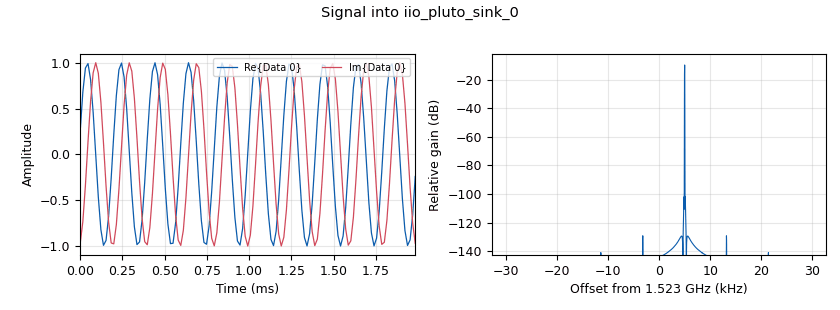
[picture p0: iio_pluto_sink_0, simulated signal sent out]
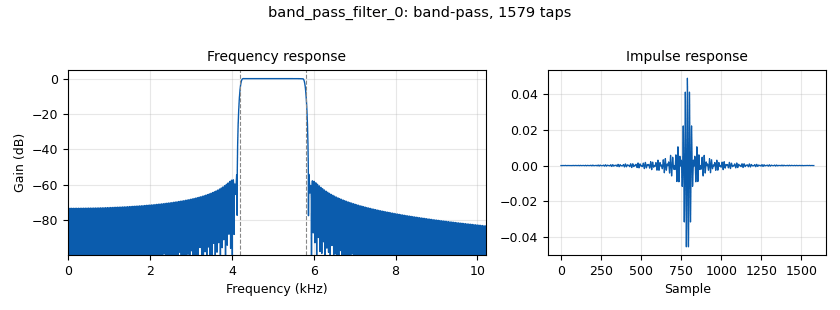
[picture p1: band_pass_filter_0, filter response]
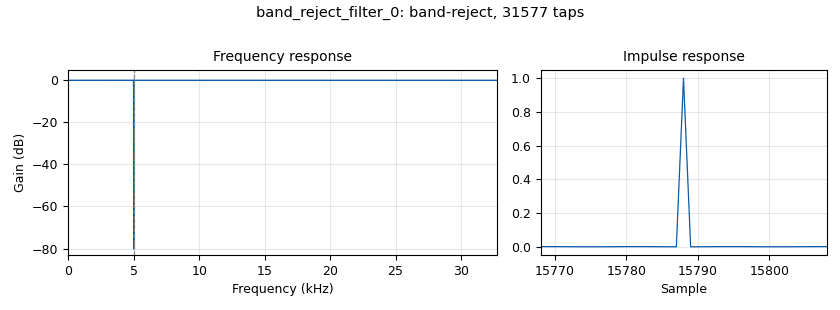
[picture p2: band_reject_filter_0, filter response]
options:
  parameters:
    author: Khalid Alrehaili
    generate_options: qt_gui
    id: Doppler_Radar_ADALM_PLUTO
    output_language: python
    title: Doppler_Radar_ADALM_PLUTO
  states: {}

blocks:
- name: amp
  id: variable_qtgui_range
  parameters:
    label: amp
    start: '0'
    step: '0.01'
    stop: '1'
    value: '0'
  states: {}
- name: calibration
  id: variable_qtgui_push_button
  parameters:
    label: calibration
    pressed: '1'
    released: '0'
    type: int
    value: '0'
  states: {}
- name: calibration_func_Arg1
  id: variable_function_probe
  parameters:
    block_id: Arg1
    function_name: level
    poll_rate: '10'
    value: '0'
  states: {}
- name: calibration_func_Mag1
  id: variable_function_probe
  parameters:
    block_id: Mag1
    function_name: level
    poll_rate: '10'
    value: '0'
  states: {}
- name: comp_delay_A1
  id: variable
  parameters:
    value: calibration_module.Arg1(calibration, calibration_func_Arg1)
  states: {}
- name: comp_gain_A1
  id: variable
  parameters:
    value: calibration_module.Mag1(calibration, calibration_func_Mag1)
  states: {}
- name: decimation
  id: variable
  parameters:
    value: '1'
  states: {}
- name: delay
  id: variable_qtgui_range
  parameters:
    label: delay
    start: '-100'
    step: '0.01'
    stop: '100'
    value: '0'
  states: {}
- name: fc
  id: variable
  parameters:
    value: int(1.523e9)
  states: {}
- name: freq
  id: variable
  parameters:
    value: round((frequency_detector.frequency_detector(func, vector_length, threshold))*samp_rate/vector_length, 2)
  states: {}
- name: func
  id: variable_function_probe
  parameters:
    block_id: probe_signal
    function_name: level
    poll_rate: '60'
    value: '0'
  states: {}
- name: lambda1
  id: variable
  parameters:
    value: speed_of_light/fc
  states: {}
- name: radar_angle
  id: variable
  parameters:
    value: 0*pi/180
  states: {}
- name: samp_rate
  id: variable
  parameters:
    value: int(1024*64)
  states: {}
- name: speed
  id: variable
  parameters:
    value: round(((frequency_detector.frequency_detector(func, vector_length, threshold))*samp_rate/vector_length-5e3)*lambda1, 2)/2*3.6/(cos(radar_angle))
  states: {}
- name: threshold
  id: variable
  parameters:
    value: '-20'
  states: {}
- name: tx_gain
  id: variable_qtgui_range
  parameters:
    label: tx_gain
    start: '0'
    step: '0.01'
    stop: '1'
    value: '0.3'
  states: {}
- name: variable_qtgui_label_0
  id: variable_qtgui_label
  parameters:
    label: freq
    type: string
    value: '": "+str(freq) + " Hz"'
  states: {}
- name: variable_qtgui_label_0_0
  id: variable_qtgui_label
  parameters:
    label: 'speed: '
    type: string
    value: str(round(speed,2)) + " Km/h"
  states: {}
- name: vector_length
  id: variable
  parameters:
    value: 1024*16
  states: {}
- name: Arg1
  id: blocks_probe_signal_x
  parameters:
    type: float
  states: {}
- name: Mag1
  id: blocks_probe_signal_x
  parameters:
    type: float
  states: {}
- name: analog_sig_source_x_0
  id: analog_sig_source_x
  parameters:
    amp: '1'
    freq: 5e3
    offset: '0'
    phase: '0'
    samp_rate: samp_rate
    type: complex
    waveform: analog.GR_COS_WAVE
  states: {}
- name: band_pass_filter_0
  id: band_pass_filter
  parameters:
    decim: '1'
    gain: '1'
    high_cutoff_freq: 5e3+800
    low_cutoff_freq: 5e3-800
    samp_rate: samp_rate
    type: fir_filter_ccf
    width: '100'
    win: window.WIN_HAMMING
  states: {}
- name: band_reject_filter_0
  id: band_reject_filter
  parameters:
    decim: '1'
    gain: '1'
    high_cutoff_freq: 5e3+10
    low_cutoff_freq: 5e3-10
    samp_rate: samp_rate
    type: fir_filter_ccf
    width: '5'
    win: window.WIN_HAMMING
  states: {}
- name: blocks_complex_to_arg_0
  id: blocks_complex_to_arg
  parameters: {}
  states: {}
- name: blocks_complex_to_mag_0
  id: blocks_complex_to_mag
  parameters: {}
  states: {}
- name: blocks_complex_to_mag_squared_0
  id: blocks_complex_to_mag_squared
  parameters:
    vlen: vector_length
  states: {}
- name: blocks_complex_to_real_0
  id: blocks_complex_to_real
  parameters: {}
  states: {state: disabled}
- name: blocks_complex_to_real_0_0
  id: blocks_complex_to_real
  parameters: {}
  states: {state: disabled}
- name: blocks_integrate_xx_0
  id: blocks_integrate_xx
  parameters:
    decim: '1'
    type: float
    vlen: vector_length
  states: {}
- name: blocks_multiply_conjugate_cc_0
  id: blocks_multiply_conjugate_cc
  parameters: {}
  states: {}
- name: blocks_multiply_const_vxx_0_0
  id: blocks_multiply_const_vxx
  parameters:
    const: comp_gain_A1+amp
    type: complex
  states: {}
- name: blocks_nlog10_ff_0
  id: blocks_nlog10_ff
  parameters:
    k: '-10*log10(vector_length)'
    n: '10'
    vlen: vector_length
  states: {}
- name: blocks_phase_shift_0
  id: blocks_phase_shift
  parameters:
    is_radians: 'True'
    shift: '-comp_delay_A1+delay'
  states: {}
- name: blocks_stream_to_vector_0
  id: blocks_stream_to_vector
  parameters:
    num_items: vector_length
    type: complex
  states: {}
- name: blocks_sub_xx_0
  id: blocks_sub_xx
  parameters:
    type: complex
  states: {}
- name: calibration_module
  id: epy_module
  parameters:
    source_code: "# this module will be imported in the into your flowgraph\r\n\r\nglobal Mag\r\nMag = 0\r\ndef Mag1(button, Mag1):\r\n\tif button == 1:\r\n\t\tglobal Mag\r\n\t\tMag = Mag1\r\n\treturn Mag\r\nglobal Arg\r\nArg = 0\r\n\r\ndef Arg1(button, Arg1):\r\n\tif button == 1:\r\n\t\tglobal Arg\r\n\t\tArg = Arg1\r\n\treturn Arg"
  states: {}
- name: fft_vxx_0
  id: fft_vxx
  parameters:
    fft_size: vector_length
    forward: 'True'
    shift: 'True'
    type: complex
    window: window.blackmanharris(vector_length)
  states: {}
- name: frequency_detector
  id: epy_module
  parameters:
    source_code: "# this module will be imported in the into your flowgraph\n\ndef frequency_detector(signal, vector_length, threshold):\n\t\n\tglobal a, b\n\ta = 0\n\tb = 0\n\tif type(signal) is list:\n\t\ta = max(signal)\n\t\tif a < threshold:\n\t\t\treturn 5e3/4\n\t\t\n\t\tb = signal.index(a)-vector_length/2\n\treturn b\n\n"
  states: {}
- name: iio_pluto_sink_0
  id: iio_pluto_sink
  parameters:
    attenuation1: '10.0'
    bandwidth: '20000000'
    buffer_size: '32768'
    cyclic: 'False'
    filter_source: '''Auto'''
    frequency: fc
    samplerate: samp_rate
    type: fc32
  states: {}
- name: iio_pluto_source_0
  id: iio_pluto_source
  parameters:
    bandwidth: '20000000'
    bbdc: 'True'
    buffer_size: '32768'
    filter_source: '''Auto'''
    frequency: fc
    gain1: '''slow_attack'''
    quadrature: 'True'
    rfdc: 'True'
    samplerate: samp_rate
    type: fc32
  states: {}
- name: import_0
  id: import
  parameters:
    imports: from math import pi, cos
  states: {}
- name: import_0_0
  id: import
  parameters:
    imports: from math import log10
  states: {}
- name: import_0_0_0
  id: import
  parameters:
    imports: from scipy.constants import speed_of_light
  states: {}
- name: probe_signal
  id: blocks_probe_signal_vx
  parameters:
    type: float
    vlen: vector_length
  states: {}
- name: qtgui_time_sink_x_0
  id: qtgui_time_sink_x
  parameters:
    nconnections: '2'
    size: '1024'
    srate: samp_rate
    type: float
  states: {state: disabled}
- name: qtgui_vector_sink_f_0
  id: qtgui_vector_sink_f
  parameters:
    autoscale: 'True'
    vlen: vector_length
    x_start: '-vector_length/2'
    x_step: '1'
    ymin: '-10'
  states: {}
- name: qtgui_waterfall_sink_x_0
  id: qtgui_waterfall_sink_x
  parameters:
    bw: samp_rate
    fc: '0'
    fftsize: '1024'
    type: complex
  states: {}

connections:
- [analog_sig_source_x_0, '0', blocks_multiply_conjugate_cc_0, '0']
- [analog_sig_source_x_0, '0', blocks_phase_shift_0, '0']
- [analog_sig_source_x_0, '0', iio_pluto_sink_0, '0']
- [band_pass_filter_0, '0', blocks_stream_to_vector_0, '0']
- [band_pass_filter_0, '0', qtgui_waterfall_sink_x_0, '0']
- [band_reject_filter_0, '0', band_pass_filter_0, '0']
- [blocks_complex_to_arg_0, '0', Arg1, '0']
- [blocks_complex_to_mag_0, '0', Mag1, '0']
- [blocks_complex_to_mag_squared_0, '0', blocks_nlog10_ff_0, '0']
- [blocks_complex_to_real_0, '0', qtgui_time_sink_x_0, '0']
- [blocks_complex_to_real_0_0, '0', qtgui_time_sink_x_0, '1']
- [blocks_integrate_xx_0, '0', probe_signal, '0']
- [blocks_integrate_xx_0, '0', qtgui_vector_sink_f_0, '0']
- [blocks_multiply_conjugate_cc_0, '0', blocks_complex_to_arg_0, '0']
- [blocks_multiply_const_vxx_0_0, '0', blocks_complex_to_real_0, '0']
- [blocks_multiply_const_vxx_0_0, '0', blocks_sub_xx_0, '0']
- [blocks_nlog10_ff_0, '0', blocks_integrate_xx_0, '0']
- [blocks_phase_shift_0, '0', blocks_multiply_const_vxx_0_0, '0']
- [blocks_stream_to_vector_0, '0', fft_vxx_0, '0']
- [blocks_sub_xx_0, '0', band_reject_filter_0, '0']
- [fft_vxx_0, '0', blocks_complex_to_mag_squared_0, '0']
- [iio_pluto_source_0, '0', blocks_complex_to_mag_0, '0']
- [iio_pluto_source_0, '0', blocks_multiply_conjugate_cc_0, '1']
- [iio_pluto_source_0, '0', blocks_sub_xx_0, '1']

metadata:
  file_format: 1
  grc_version: 3.10.12.0
